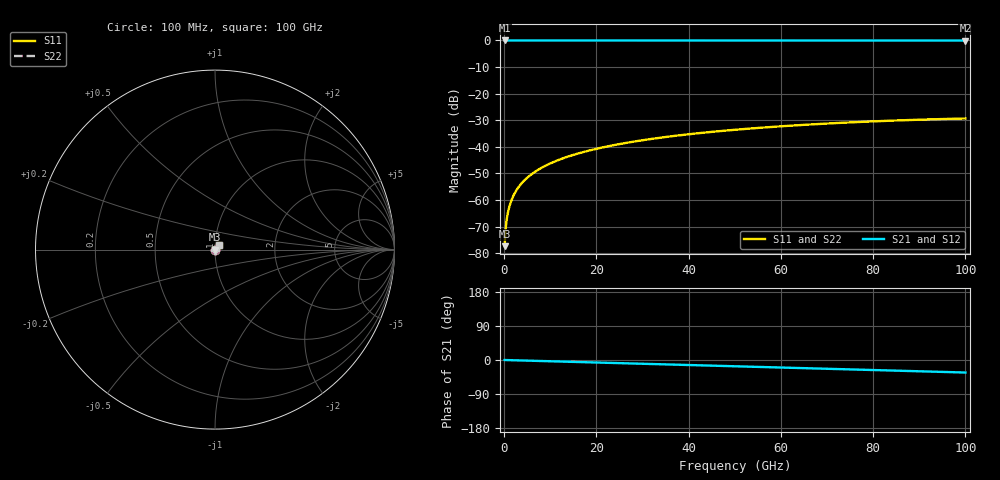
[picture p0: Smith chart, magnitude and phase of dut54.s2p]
! Touchstone file exported from HFSS 2026.1.0
!  File:  C:/ffzhzh/LocalFiles/Ansys_Project_Files/temp_train_TSV_54_1783504997_31944.aedt
!  Generated:  06:04:35 PM Jul  8, 2026
!  Design:  TSV
!  Project:  temp_train_TSV_54_1783504997_31944
! Variables:
!  h_bsmrdl = 2um
!  h_ox = 20um
!  h_rdl = 5um
!  h_sub = 63.75um
!  h_tmrdl = 5um
!  h_tsv = 63.75um
!  h_via = 3um
!  l_bsmrdl = 300um
!  l_sub = 419.88um
!  l_tmrdl = 200um
!  m_sub = 200um
!  pitch = 43.44um
!  r_tsv = 9.94um
!  s_tmrdl = 10um
!  w_bsmrdl = 18um
!  w_sub = 500um
!  w_tmrdl = 12um
!  x_tsv_center1 = 206um
!  x_tsv_center2 = 524um
!  x_tsv_center3 = 736um
!  x_tsv_center4 = 1054um
!  x_tsv_center5 = 1266um
!  x_tsv_center6 = 1584um
# GHz S MA R 50.000000
! Terminal data exported
! Port[1] = TSV1_1_T1
! Port[2] = TSV1_1_T2
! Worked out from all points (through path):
!   1000 points, 100 MHz to 100 GHz, reference 50 ohm
!   highest |S21| = 0.00 dB at 100 MHz (marker M1); lowest = 0.0 dB at 100 GHz (marker M2)
!   group delay of S21, straight-line fit = 917 fs
!   lowest |S11| = -77.3 dB at 100 MHz (marker M3), VSWR 1.00, Z = 50 + j0.00813 ohm
!   |S11| at or under -10 dB: start of sweep to end of sweep
!   |S22| runs from -77.3 to -29.3 dB; largest |S21 - S12| = 3.6e-15
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0.1  0.0001357 36.8  0.9999 -0.0  0.9999 -0.0  0.0001357 36.8
! Gamma 0 0 0 0
! Port Impedance 50 0 50 0
0.4  0.0003355 62.7  0.9998 -0.1  0.9998 -0.1  0.0003355 62.7
0.7  0.0005171 66.8  0.9998 -0.2  0.9998 -0.2  0.0005171 66.8
0.8  0.0005731 67.7  0.9998 -0.3  0.9998 -0.3  0.0005731 67.7
1.1  0.0007351 69.8  0.9997 -0.4  0.9997 -0.4  0.0007351 69.8
1.4  0.0008926 71.3  0.9997 -0.5  0.9997 -0.5  0.0008926 71.3
1.9  0.001149 73.0  0.9997 -0.6  0.9997 -0.6  0.001149 73.0
2.4  0.001399 74.0  0.9996 -0.8  0.9996 -0.8  0.001399 74.0
3.1  0.001739 75.0  0.9996 -1.0  0.9996 -1.0  0.001739 75.0
3.9  0.002117 75.8  0.9995 -1.3  0.9995 -1.3  0.002117 75.8
4.9  0.00258 76.6  0.9995 -1.6  0.9995 -1.6  0.00258 76.6
6.1  0.003129 77.2  0.9994 -2.0  0.9994 -2.0  0.003129 77.2
8.9  0.004389 77.7  0.9993 -3.0  0.9993 -3.0  0.004389 77.7
12.4  0.00593 77.6  0.9991 -4.1  0.9991 -4.1  0.00593 77.6
16.8  0.007825 77.1  0.999 -5.6  0.999 -5.6  0.007825 77.1
24.2  0.01094 75.8  0.9987 -8.0  0.9987 -8.0  0.01094 75.8
33.4  0.01467 73.5  0.9985 -11.0  0.9985 -11.0  0.01467 73.5
41.2  0.0177 71.4  0.9983 -13.6  0.9983 -13.6  0.0177 71.4
50.1  0.02096 68.8  0.9981 -16.5  0.9981 -16.5  0.02096 68.9
66.7  0.02643 63.8  0.9976 -22.0  0.9976 -22.0  0.02643 63.9
83.4  0.03094 58.6  0.9972 -27.6  0.9972 -27.6  0.03094 58.6
100  0.03414 53.4  0.9968 -33.1  0.9968 -33.1  0.03414 53.4
